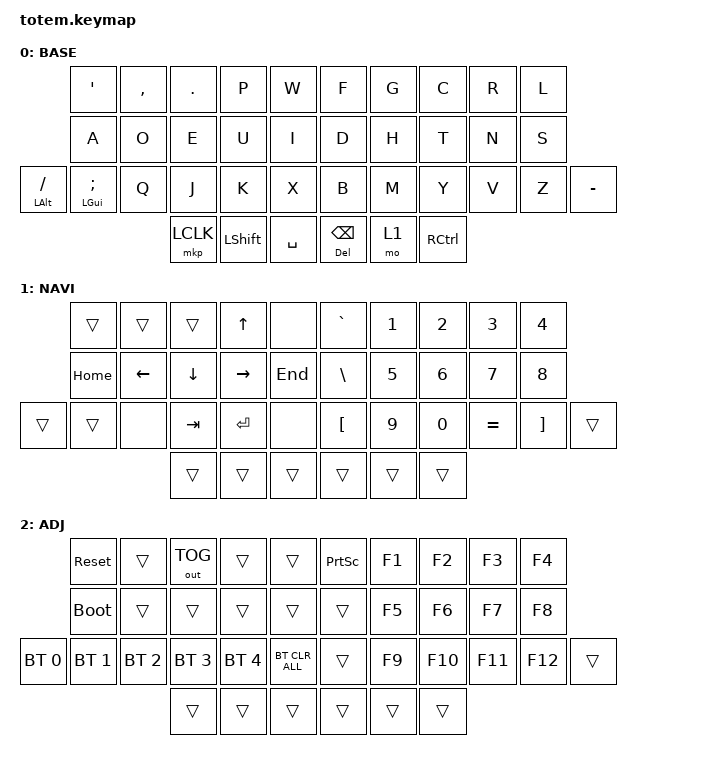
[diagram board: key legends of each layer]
//
//                                                        ▀▀▀▀▀     ▀▀▀▀▀          ▀▀█▀▀
//                                                        ▄▀▀▀▄  ▄  ▄▀▀▀▄  ▄  ▄▀▀▀▄  █  ▄▀▀▀▄
//                                                        █   █  █  █   █  █  █   █  █  █   █
//                                                         ▀▀▀   █   ▀▀▀   █   ▀▀▀   ▀   ▀▀▀
//                                                               █      ▄▄▄█▄▄▄    █   █  
//                                                               ▀      █  █  █     █▄█
//                                                             ▀▀▀▀▀    █  █  █      ▀
//                                                                      ▀  ▀  ▀
//
// ▄▄▄▄▄▄▄▄▄▄▄▄▄▄▄▄▄▄▄▄▄▄▄▄▄▄▄▄▄▄▄▄▄▄▄▄▄▄▄▄▄▄▄▄▄▄▄▄▄▄▄▄▄▄▄▄▄▄▄▄▄▄▄▄▄▄▄▄▄▄▄▄▄▄▄▄▄▄▄▄▄▄▄▄▄▄▄▄▄▄▄▄▄▄▄▄▄▄▄▄▄▄▄▄▄▄▄▄▄▄▄▄▄▄▄▄▄▄▄▄▄▄▄▄▄▄▄▄▄▄▄▄▄▄▄▄▄▄▄▄▄▄▄▄▄▄▄▄▄

#include <behaviors.dtsi>
#include <dt-bindings/zmk/bt.h>
#include <dt-bindings/zmk/keys.h>
#include <dt-bindings/zmk/outputs.h>
#include <dt-bindings/zmk/pointing.h>

#define BASE 0
#define NAV  1
#define SYM  2
#define ADJ  3

&mt {
    quick-tap-ms = <100>;
    global-quick-tap;
    flavor = "tap-preferred";
    tapping-term-ms = <170>;
};

/ {
    combos {
        compatible = "zmk,combos";

        combo_esc {
            timeout-ms = <50>;
            key-positions = <6 7>;
            bindings = <&kp ESC>;
        };

        function_layer {
            bindings = <&mo 2>;
            key-positions = <34 35>;
        };

        left_click {
            bindings = <&mkp RCLK>;
            key-positions = <32 24>;
        };

        scroll_up {
            bindings = <&msc SCRL_UP>;
            key-positions = <3 2>;
        };

        scroll_down {
            bindings = <&msc SCRL_DOWN>;
            key-positions = <24 23>;
        };

        scroll_right {
            bindings = <&msc SCRL_RIGHT>;
            key-positions = <14 13>;
        };

        scroll_left {
            bindings = <&msc SCRL_LEFT>;
            key-positions = <10 11>;
        };
    };

    macros {
        gif: gif {
            label = "giphy";
            compatible = "zmk,behavior-macro";
            #binding-cells = <0>;
            bindings =
                <&macro_press>,
                <&kp LSHFT>,
                <&macro_tap>,
                <&kp N2>,
                <&macro_release>,
                <&kp LSHFT>,
                <&macro_tap>,
                <&kp G &kp I &kp F>;
        };
    };

    keymap {
        compatible = "zmk,keymap";

        // ▄▄▄▄▄▄▄▄▄▄▄▄▄▄▄▄▄▄▄▄▄▄▄▄▄▄▄▄▄▄▄▄▄▄▄▄▄▄▄▄▄▄▄▄▄▄▄▄▄▄▄▄▄▄▄▄▄▄▄▄▄▄▄▄▄▄▄▄▄▄▄▄▄▄▄▄▄▄▄▄▄▄▄▄▄▄▄▄▄▄▄▄▄▄▄▄▄▄▄▄▄▄▄▄▄▄▄▄▄▄▄▄▄▄▄▄▄▄▄▄▄▄▄▄▄▄▄▄▄▄▄▄▄▄▄▄▄▄▄▄▄▄▄▄▄▄▄▄▄

        type_layer {
            // ┏━━━━━━━━━━━━━━━━━━━━━━━━━━━━━━━━━━━━━━━┓

            label = "BASE";

            // ┗━━━━━━━━━━━━━━━━━━━━━━━━━━━━━━━━━━━━━━━┛
            //             ┏━━━━━━━━━━━┳━━━━━━━━━━━┳━━━━━━━━━━━┳━━━━━━━━━━━┳━━━━━━━━━━━┓   ┏━━━━━━━━━━━┳━━━━━━━━━━━┳━━━━━━━━━━━┳━━━━━━━━━━━┳━━━━━━━━━━━┓
            //             ┃     Q     ┃     W     ┃     F     ┃     P     ┃     G     ┃   ┃     J     ┃     L     ┃     U     ┃     Y     ┃     ;     ┃
            //             ┣━━━━━━━━━━━╋━━━━━━━━━━━╋━━━━━━━━━━━╋━━━━━━━━━━━╋━━━━━━━━━━━┫   ┣━━━━━━━━━━━╋━━━━━━━━━━━╋━━━━━━━━━━━╋━━━━━━━━━━━╋━━━━━━━━━━━┫
            //             ┃     A     ┃     R     ┃     S     ┃     T     ┃     D     ┃   ┃     H     ┃     N     ┃     E     ┃     I     ┃     O     ┃
            // ┏━━━━━━━━━━━╋━━━━━━━━━━━╋━━━━━━━━━━━╋━━━━━━━━━━━╋━━━━━━━━━━━╋━━━━━━━━━━━┫   ┣━━━━━━━━━━━╋━━━━━━━━━━━╋━━━━━━━━━━━╋━━━━━━━━━━━╋━━━━━━━━━━━╋━━━━━━━━━━━┓
            // ┃           ┃     Z     ┃     X     ┃     C     ┃     V     ┃     B     ┃   ┃     K     ┃     M     ┃     ,     ┃     .     ┃     /     ┃           ┃
            // ┗━━━━━━━━━━━┻━━━━━━━━━━━┻━━━━━━━━━━━╋━━━━━━━━━━━╋━━━━━━━━━━━╋━━━━━━━━━━━┫   ┣━━━━━━━━━━━╋━━━━━━━━━━━╋━━━━━━━━━━━╋━━━━━━━━━━━┻━━━━━━━━━━━┻━━━━━━━━━━━┛
            //                                     ┃           ┃    TAB    ┃    SPC    ┃   ┃   ENTER   ┃   BSPC    ┃           ┃
            //                                     ┗━━━━━━━━━━━┻━━━━━━━━━━━┻━━━━━━━━━━━┛   ┗━━━━━━━━━━━┻━━━━━━━━━━━┻━━━━━━━━━━━┛

            bindings = <
                    &kp SINGLE_QUOTE        &kp COMMA  &kp PERIOD  &kp P           &kp W        &kp F                 &kp G  &kp C      &kp R  &kp L
                    &kp A                   &kp O      &kp E       &kp U           &kp I        &kp D                 &kp H  &kp T      &kp N  &kp S
&mt LEFT_ALT SLASH  &mt LEFT_GUI SEMICOLON  &kp Q      &kp J       &kp K           &kp X        &kp B                 &kp M  &kp Y      &kp V  &kp Z  &kp MINUS
                                                       &mkp LCLK   &kp LEFT_SHIFT  &kp SPACE    &mt DELETE BACKSPACE  &mo 1  &kp RCTRL
            >;
        };

        // ▄▄▄▄▄▄▄▄▄▄▄▄▄▄▄▄▄▄▄▄▄▄▄▄▄▄▄▄▄▄▄▄▄▄▄▄▄▄▄▄▄▄▄▄▄▄▄▄▄▄▄▄▄▄▄▄▄▄▄▄▄▄▄▄▄▄▄▄▄▄▄▄▄▄▄▄▄▄▄▄▄▄▄▄▄▄▄▄▄▄▄▄▄▄▄▄▄▄▄▄▄▄▄▄▄▄▄▄▄▄▄▄▄▄▄▄▄▄▄▄▄▄▄▄▄▄▄▄▄▄▄▄▄▄▄▄▄▄▄▄▄▄▄▄▄▄▄▄▄

        nav_layer {
            // ┏━━━━━━━━━━━━━━━━━━━━━━━━━━━━━━━━━━━━━━━┓

            label = "NAVI";

            // ┗━━━━━━━━━━━━━━━━━━━━━━━━━━━━━━━━━━━━━━━┛
            //             ┏━━━━━━━━━━━┳━━━━━━━━━━━┳━━━━━━━━━━━┳━━━━━━━━━━━┳━━━━━━━━━━━┓   ┏━━━━━━━━━━━┳━━━━━━━━━━━┳━━━━━━━━━━━┳━━━━━━━━━━━┳━━━━━━━━━━━┓
            //             ┃           ┃           ┃     UP    ┃           ┃     {     ┃   ┃     }     ┃     7     ┃     8     ┃     9     ┃     +     ┃
            //             ┣━━━━━━━━━━━╋━━━━━━━━━━━╋━━━━━━━━━━━╋━━━━━━━━━━━╋━━━━━━━━━━━┫   ┣━━━━━━━━━━━╋━━━━━━━━━━━╋━━━━━━━━━━━╋━━━━━━━━━━━╋━━━━━━━━━━━┫
            //             ┃   SHIFT   ┃   LEFT    ┃    DOWN   ┃   RIGHT   ┃     [     ┃   ┃     ]     ┃     4     ┃     5     ┃     6     ┃     -     ┃
            // ┏━━━━━━━━━━━╋━━━━━━━━━━━╋━━━━━━━━━━━╋━━━━━━━━━━━╋━━━━━━━━━━━╋━━━━━━━━━━━┫   ┣━━━━━━━━━━━╋━━━━━━━━━━━╋━━━━━━━━━━━╋━━━━━━━━━━━╋━━━━━━━━━━━╋━━━━━━━━━━━┓
            // ┃           ┃           ┃   P UP    ┃  C LOCK   ┃  P DOWN   ┃     (     ┃   ┃     )     ┃     1     ┃     2     ┃     3     ┃     *     ┃           ┃
            // ┗━━━━━━━━━━━┻━━━━━━━━━━━┻━━━━━━━━━━━╋━━━━━━━━━━━╋━━━━━━━━━━━╋━━━━━━━━━━━┫   ┣━━━━━━━━━━━╋━━━━━━━━━━━╋━━━━━━━━━━━╋━━━━━━━━━━━┻━━━━━━━━━━━┻━━━━━━━━━━━┛
            //                                     ┃           ┃    TAB    ┃    SPC    ┃   ┃    DEL    ┃     0     ┃           ┃
            //                                     ┗━━━━━━━━━━━┻━━━━━━━━━━━┻━━━━━━━━━━━┛   ┗━━━━━━━━━━━┻━━━━━━━━━━━┻━━━━━━━━━━━┛

            bindings = <
        &trans    &trans    &trans    &kp UP     &none      &kp GRAVE         &kp N1  &kp N2  &kp N3     &kp N4
        &kp HOME  &kp LEFT  &kp DOWN  &kp RIGHT  &kp END    &kp BACKSLASH     &kp N5  &kp N6  &kp N7     &kp N8
&trans  &trans    &none     &kp TAB   &kp ENTER  &none      &kp LEFT_BRACKET  &kp N9  &kp N0  &kp EQUAL  &kp RIGHT_BRACKET  &trans
                            &trans    &trans     &trans     &trans            &trans  &trans
            >;
        };

        // ▄▄▄▄▄▄▄▄▄▄▄▄▄▄▄▄▄▄▄▄▄▄▄▄▄▄▄▄▄▄▄▄▄▄▄▄▄▄▄▄▄▄▄▄▄▄▄▄▄▄▄▄▄▄▄▄▄▄▄▄▄▄▄▄▄▄▄▄▄▄▄▄▄▄▄▄▄▄▄▄▄▄▄▄▄▄▄▄▄▄▄▄▄▄▄▄▄▄▄▄▄▄▄▄▄▄▄▄▄▄▄▄▄▄▄▄▄▄▄▄▄▄▄▄▄▄▄▄▄▄▄▄▄▄▄▄▄▄▄▄▄▄▄▄▄▄▄▄▄
        // ▄▄▄▄▄▄▄▄▄▄▄▄▄▄▄▄▄▄▄▄▄▄▄▄▄▄▄▄▄▄▄▄▄▄▄▄▄▄▄▄▄▄▄▄▄▄▄▄▄▄▄▄▄▄▄▄▄▄▄▄▄▄▄▄▄▄▄▄▄▄▄▄▄▄▄▄▄▄▄▄▄▄▄▄▄▄▄▄▄▄▄▄▄▄▄▄▄▄▄▄▄▄▄▄▄▄▄▄▄▄▄▄▄▄▄▄▄▄▄▄▄▄▄▄▄▄▄▄▄▄▄▄▄▄▄▄▄▄▄▄▄▄▄▄▄▄▄▄▄

        function_layer {
            // ┏━━━━━━━━━━━━━━━━━━━━━━━━━━━━━━━━━━━━━━━┓

            label = "ADJ";

            // ┗━━━━━━━━━━━━━━━━━━━━━━━━━━━━━━━━━━━━━━━┛
            //             ┏━━━━━━━━━━━┳━━━━━━━━━━━┳━━━━━━━━━━━┳━━━━━━━━━━━┳━━━━━━━━━━━┓   ┏━━━━━━━━━━━┳━━━━━━━━━━━┳━━━━━━━━━━━┳━━━━━━━━━━━┳━━━━━━━━━━━┓
            //             ┃   RESET   ┃ BT CLEAR  ┃  OUT TOG  ┃           ┃           ┃   ┃           ┃    F7     ┃    F8     ┃    F9     ┃    F12    ┃
            //             ┣━━━━━━━━━━━╋━━━━━━━━━━━╋━━━━━━━━━━━╋━━━━━━━━━━━╋━━━━━━━━━━━┫   ┣━━━━━━━━━━━╋━━━━━━━━━━━╋━━━━━━━━━━━╋━━━━━━━━━━━╋━━━━━━━━━━━┫
            //             ┃ BOOTLOAD  ┃ BT NEXT   ┃           ┃           ┃           ┃   ┃           ┃    F4     ┃    F5     ┃    F6     ┃    F11    ┃
            // ┏━━━━━━━━━━━╋━━━━━━━━━━━╋━━━━━━━━━━━╋━━━━━━━━━━━╋━━━━━━━━━━━╋━━━━━━━━━━━┫   ┣━━━━━━━━━━━╋━━━━━━━━━━━╋━━━━━━━━━━━╋━━━━━━━━━━━╋━━━━━━━━━━━╋━━━━━━━━━━━┓
            // ┃           ┃           ┃ BT PREV   ┃           ┃           ┃           ┃   ┃           ┃    F1     ┃    F2     ┃    F3     ┃    F10    ┃           ┃
            // ┗━━━━━━━━━━━┻━━━━━━━━━━━┻━━━━━━━━━━━╋━━━━━━━━━━━╋━━━━━━━━━━━╋━━━━━━━━━━━┫   ┣━━━━━━━━━━━╋━━━━━━━━━━━╋━━━━━━━━━━━╋━━━━━━━━━━━┻━━━━━━━━━━━┻━━━━━━━━━━━┛
            //                                     ┃           ┃           ┃           ┃   ┃           ┃           ┃           ┃
            //                                     ┗━━━━━━━━━━━┻━━━━━━━━━━━┻━━━━━━━━━━━┛   ┗━━━━━━━━━━━┻━━━━━━━━━━━┻━━━━━━━━━━━┛

            bindings = <
              &sys_reset    &trans        &out OUT_TOG  &trans        &trans            &kp PRINTSCREEN  &kp F1  &kp F2   &kp F3   &kp F4
              &bootloader   &trans        &trans        &trans        &trans            &trans           &kp F5  &kp F6   &kp F7   &kp F8
&bt BT_SEL 0  &bt BT_SEL 1  &bt BT_SEL 2  &bt BT_SEL 3  &bt BT_SEL 4  &bt BT_CLR_ALL    &trans           &kp F9  &kp F10  &kp F11  &kp F12  &trans
                                          &trans        &trans        &trans            &trans           &trans  &trans
            >;
        };
    };
};
